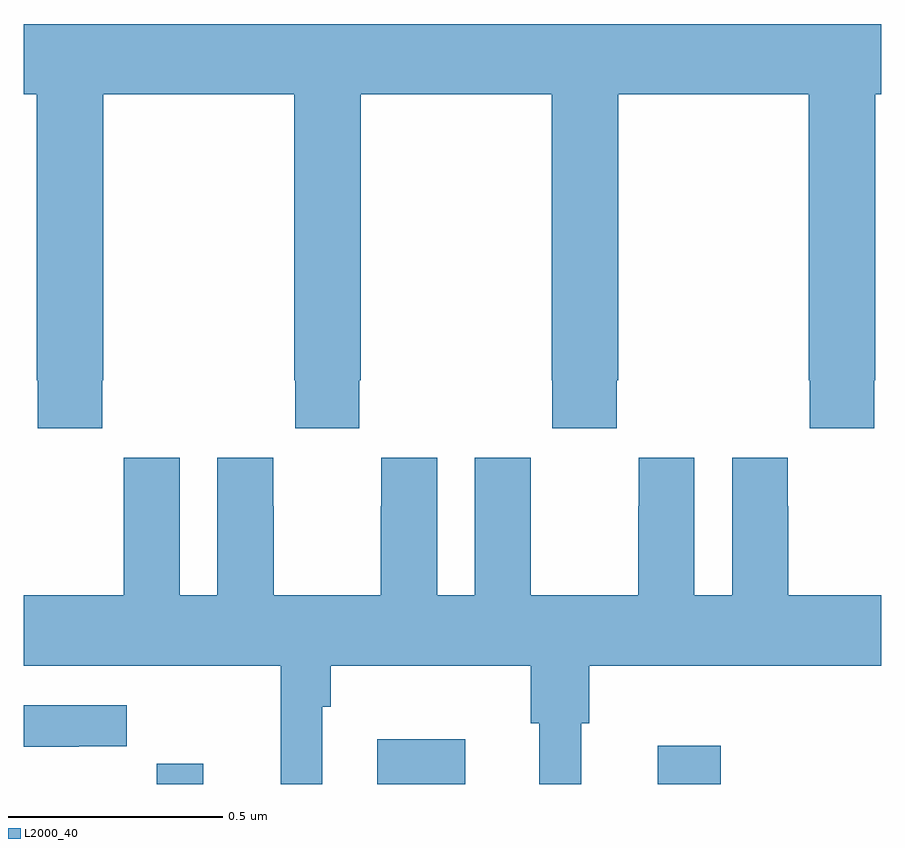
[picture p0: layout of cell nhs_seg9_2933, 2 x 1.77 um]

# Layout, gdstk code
import gdstk
lib = gdstk.Library(unit=1e-6, precision=1e-09)
def R(c, l, rs):  # rectangles x0, y0, x1, y1
    for r in rs: c.add(gdstk.rectangle(r[:2], r[2:], *l))
def P(c, l, *ps):  # polygons
    for p in ps: c.add(gdstk.Polygon(p, *l))
L2000_40 = (2000, 40)

nhs_seg9_2933 = lib.new_cell('nhs_seg9_2933')
R(nhs_seg9_2933, L2000_40, [(147.31,1173.5,147.419,1173.547), (147.824,1173.5,148.03,1173.604), (148.478,1173.5,148.625,1173.589)])
P(nhs_seg9_2933, L2000_40, [(147.183,1174.441),(147.186,1174.441),(147.186,1175.108),(147.631,1175.108),(147.631,1174.441),(147.633,1174.441),(147.633,1174.329),(147.783,1174.329),(147.783,1174.441),(147.786,1174.441),(147.786,1175.108),(148.231,1175.108),(148.231,1174.441),(148.233,1174.441),(148.233,1174.329),(148.383,1174.329),(148.383,1174.441),(148.386,1174.441),(148.386,1175.108),(148.831,1175.108),(148.831,1174.441),(148.833,1174.441),(148.833,1174.329),(148.983,1174.329),(148.983,1174.441),(148.986,1174.441),(148.986,1175.108),(149,1175.108),(149,1175.272),(147,1175.272),(147,1175.108),(147.031,1175.108),(147.031,1174.441),(147.033,1174.441),(147.033,1174.329),(147.183,1174.329)],
  [(147.696,1173.68),(147.716,1173.68),(147.716,1173.776),(148.183,1173.776),(148.183,1173.642),(148.202,1173.642),(148.202,1173.5),(148.3,1173.5),(148.3,1173.642),(148.319,1173.642),(148.319,1173.776),(149,1173.776),(149,1173.94),(148.783,1173.94),(148.783,1174.148),(148.782,1174.148),(148.782,1174.261),(148.652,1174.261),(148.652,1173.94),(148.564,1173.94),(148.564,1174.261),(148.434,1174.261),(148.434,1174.148),(148.433,1174.148),(148.433,1173.94),(148.183,1173.94),(148.183,1174.148),(148.182,1174.148),(148.182,1174.261),(148.052,1174.261),(148.052,1173.94),(147.964,1173.94),(147.964,1174.261),(147.834,1174.261),(147.834,1174.148),(147.833,1174.148),(147.833,1173.94),(147.583,1173.94),(147.583,1174.148),(147.582,1174.148),(147.582,1174.261),(147.452,1174.261),(147.452,1173.94),(147.364,1173.94),(147.364,1174.261),(147.234,1174.261),(147.234,1174.148),(147.233,1174.148),(147.233,1173.94),(147,1173.94),(147,1173.776),(147.599,1173.776),(147.599,1173.5),(147.696,1173.5)],
  [(147.128,1173.588),(147.241,1173.588),(147.241,1173.684),(147,1173.684),(147,1173.587),(147.128,1173.587)])

lib.write_gds('nhs_seg9_2933.gds')
